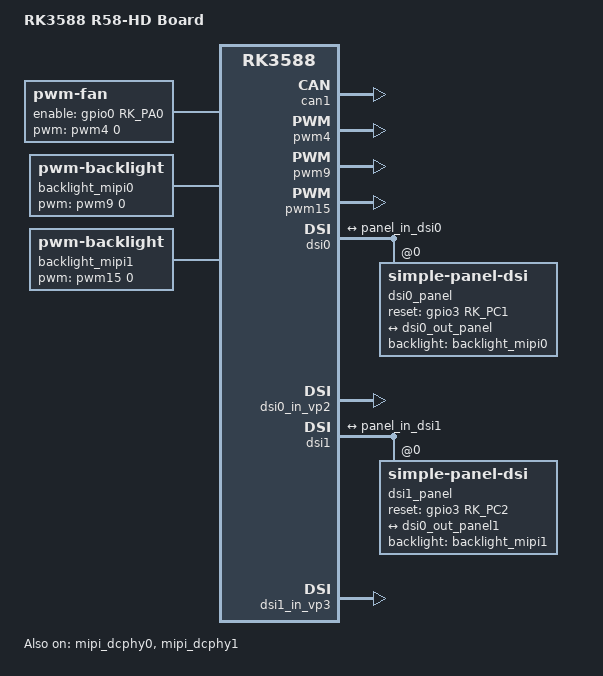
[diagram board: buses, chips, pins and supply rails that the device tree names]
// SPDX-License-Identifier: (GPL-2.0+ OR MIT)
/*
 * Copyright (c) 2021 Rockchip Electronics Co., Ltd.
 *
 */

/dts-v1/;

#include "rk3588-hugsun.dtsi"
#include "rk3588-linux.dtsi"

/ {
	model = "RK3588 R58-HD Board";
	compatible = "rockchip,rk3588-R58-HD-v10-linux", "rockchip,rk3588";
        /delete-node/ chosen;

	fan{
		compatible = "pwm-fan";
		#cooling-cells = <2>;
		pwms = <&pwm4 0 50000 0>;
		cooling-levels = <0 50 100 150 200 255>;
		rockchip,temp-trips = <
				60000	1
				65000	2
				70000	3
				75000	4
				80000	5
		>;
		enable-gpios = <&gpio0 RK_PA0 GPIO_ACTIVE_HIGH>;
		pinctrl-names = "default";
		pinctrl-0 = <&fan_enable_gpio>;
	};	

//软件保留
	backlight_mipi0: backlight_mipi0 {
		compatible = "pwm-backlight";
		pwms = <&pwm9 0 25000 0>;
		brightness-levels = <
			  0  20  20  21  21  22  22  23
		>;
		default-brightness-level = <2>;
	};

//软件保留
	backlight_mipi1: backlight_mipi1 {
		compatible = "pwm-backlight";
		pwms = <&pwm15 0 25000 0>;
		brightness-levels = <
			  0  20  20  21  21  22  22  23
		>;
		default-brightness-level = <2>;
	};

};

&can1 {
	pinctrl-names = "default";
	pinctrl-0 = <&can1m1_pins>;
	status = "okay";
};

//风扇
&pwm4 {
	pinctrl-0 = <&pwm4m0_pins>;
	status = "okay";
};

//mipi0
&pwm9 {
	pinctrl-0 = <&pwm9m0_pins>;
	status = "okay";
};

//mipi1
&pwm15 {
	pinctrl-0 = <&pwm15m2_pins>;
	status = "okay";
};

#if 1
&dsi0 {
	status = "okay";
	//rockchip,lane-rate = <120>;
	dsi0_panel: panel@0 {
		status = "okay";
		compatible = "simple-panel-dsi";
		reg = <0>;
		backlight = <&backlight_mipi0>;
		//power-supply = <&vcc3v3_mipi_lcd_power>;
		reset-gpios =  <&gpio3 RK_PC1 GPIO_ACTIVE_HIGH>; 
		//enable-gpios = <&gpio3 RK_PC1 GPIO_ACTIVE_HIGH>;
		reset-delay-ms = <100>;
		enable-delay-ms = <10>;
		init-delay-ms = <100>;
		prepare-delay-ms = <100>;
		unprepare-delay-ms = <10>;
		disable-delay-ms = <60>;
		dsi,flags = <(MIPI_DSI_MODE_VIDEO | MIPI_DSI_MODE_VIDEO_BURST |
			MIPI_DSI_MODE_LPM | MIPI_DSI_MODE_EOT_PACKET)>;
		dsi,format = <MIPI_DSI_FMT_RGB888>;
		dsi,lanes  = <4>;
		panel-init-sequence = [
			05 78 01 11
			05 78 01 29
		];

		panel-exit-sequence = [
			05 00 01 28
			05 00 01 10
		];

		display-timings {
			native-mode = <&timing0>;
			timing0: timing0 {
				clock-frequency = <148500000>;
				hactive = <1920>;
				vactive = <1080>;
				hback-porch = <148>;
				hfront-porch = <88>;
				hsync-len = <44>;
				vback-porch = <36>;
				vfront-porch = <4>;
				vsync-len = <5>;
				hsync-active = <0>;
				vsync-active = <0>;
				de-active = <0>;
				pixelclk-active = <0>;
			};
		};

		ports {
			#address-cells = <1>;
			#size-cells = <0>;

			port@0 {
				reg = <0>;
				panel_in_dsi0: endpoint {
					remote-endpoint = <&dsi0_out_panel>;
				};
			};
		};
	};

	ports {
		#address-cells = <1>;
		#size-cells = <0>;

		port@1 {
			reg = <1>;
			dsi0_out_panel: endpoint {
				remote-endpoint = <&panel_in_dsi0>;
			};
		};
	};

};

&mipi_dcphy0 {
	status = "okay";
};

&dsi0_in_vp2 {
	status = "okay";
};

&dsi0_in_vp3 {
	status = "disabled";
};

&route_dsi0 {
	status = "disabled";
	connect = <&vp2_out_dsi0>;
};

#endif

#if 1
&dsi1 {
	status = "okay";
	//rockchip,lane-rate = <120>;
	dsi1_panel: panel@1 {
		status = "okay";
		compatible = "simple-panel-dsi";
		reg = <0>;
		backlight = <&backlight_mipi1>;
		//power-supply = <&vcc3v3_mipi_lcd_power>;
		reset-gpios =  <&gpio3 RK_PC2 GPIO_ACTIVE_HIGH>; 
		//enable-gpios = <&gpio3 RK_PC1 GPIO_ACTIVE_HIGH>;
		reset-delay-ms = <100>;
		enable-delay-ms = <10>;
		init-delay-ms = <100>;
		prepare-delay-ms = <100>;
		unprepare-delay-ms = <10>;
		disable-delay-ms = <60>;
		dsi,flags = <(MIPI_DSI_MODE_VIDEO | MIPI_DSI_MODE_VIDEO_BURST |
			MIPI_DSI_MODE_LPM | MIPI_DSI_MODE_EOT_PACKET)>;
		dsi,format = <MIPI_DSI_FMT_RGB888>;
		dsi,lanes  = <4>;
		panel-init-sequence = [
			05 78 01 11
			05 78 01 29
		];

		panel-exit-sequence = [
			05 00 01 28
			05 00 01 10
		];

		display-timings {
			native-mode = <&timing1>;
			timing1: timing1 {
				clock-frequency = <148500000>;
				hactive = <1920>;
				vactive = <1080>;
				hback-porch = <148>;
				hfront-porch = <88>;
				hsync-len = <44>;
				vback-porch = <36>;
				vfront-porch = <4>;
				vsync-len = <5>;
				hsync-active = <0>;
				vsync-active = <0>;
				de-active = <0>;
				pixelclk-active = <0>;
			};
		};
		
		ports {
			#address-cells = <1>;
			#size-cells = <0>;

			port@0 {
				reg = <0>;
				panel_in_dsi1: endpoint {
					remote-endpoint = <&dsi0_out_panel1>;
				};
			};
		};
	};

	ports {
		#address-cells = <1>;
		#size-cells = <0>;

		port@1 {
			reg = <1>;
			dsi0_out_panel1: endpoint {
				remote-endpoint = <&panel_in_dsi1>;
			};
		};
	};

};

&mipi_dcphy1 {
	status = "okay";
};

&dsi1_in_vp3 {
	status = "okay";
};

&route_dsi1 {
	status = "disabled";
	connect = <&vp3_out_dsi1>;
};

#endif


&pinctrl {

	lt9611 {
		lt9611_reset_gpios: lt9611reset-gpios {
			rockchip,pins = <3 RK_PC1 RK_FUNC_GPIO &pcfg_pull_none>;
		};
	};

	fan_enable_gpio {
		fan_enable_gpio: fan_enable_gpio{
			rockchip,pins =
				<0 RK_PA0 RK_FUNC_GPIO &pcfg_pull_none>; 
		};
	};
};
